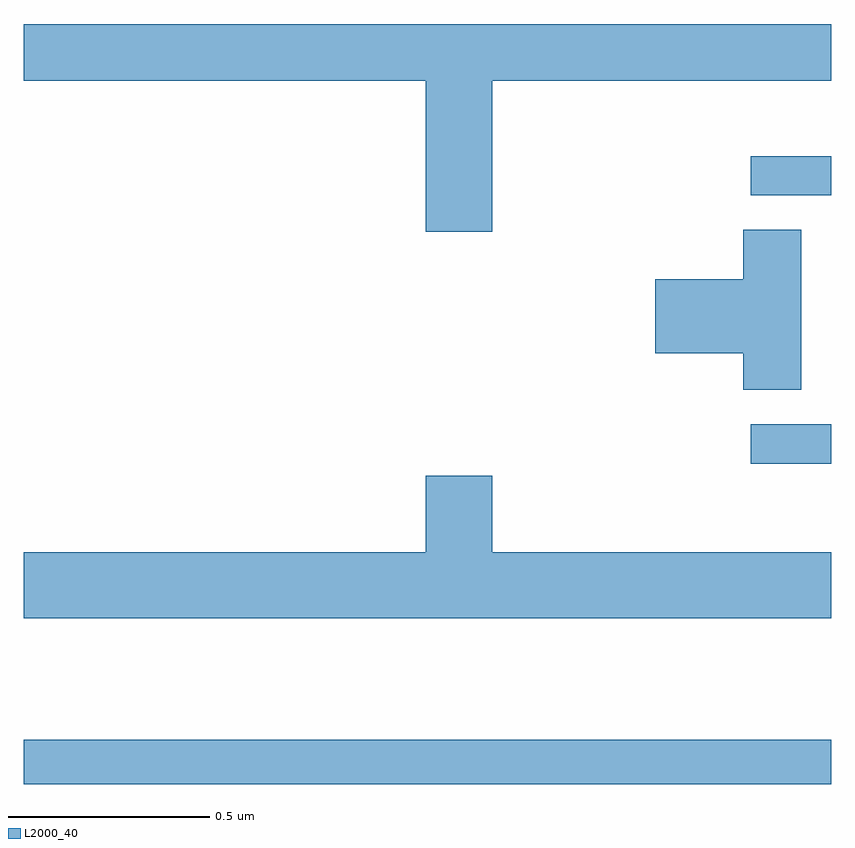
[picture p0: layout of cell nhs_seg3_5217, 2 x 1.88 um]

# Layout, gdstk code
import gdstk
lib = gdstk.Library(unit=1e-6, precision=1e-09)
def R(c, l, rs):  # rectangles x0, y0, x1, y1
    for r in rs: c.add(gdstk.rectangle(r[:2], r[2:], *l))
def P(c, l, *ps):  # polygons
    for p in ps: c.add(gdstk.Polygon(p, *l))
L2000_40 = (2000, 40)

nhs_seg3_5217 = lib.new_cell('nhs_seg3_5217')
R(nhs_seg3_5217, L2000_40, [(176,688.518,178,688.627), (177.801,689.311,178,689.409), (177.801,689.976,178,690.072)])
P(nhs_seg3_5217, L2000_40, [(177.16,690.26),(178,690.26),(178,690.4),(176,690.4),(176,690.26),(176.996,690.26),(176.996,689.886),(177.16,689.886)],
  [(177.925,689.891),(177.782,689.891),(177.782,689.768),(177.564,689.768),(177.564,689.585),(177.782,689.585),(177.782,689.494),(177.925,689.494)],
  [(178,689.092),(177.16,689.092),(177.16,689.281),(176.996,689.281),(176.996,689.092),(176,689.092),(176,688.928),(178,688.928)])

lib.write_gds('nhs_seg3_5217.gds')
